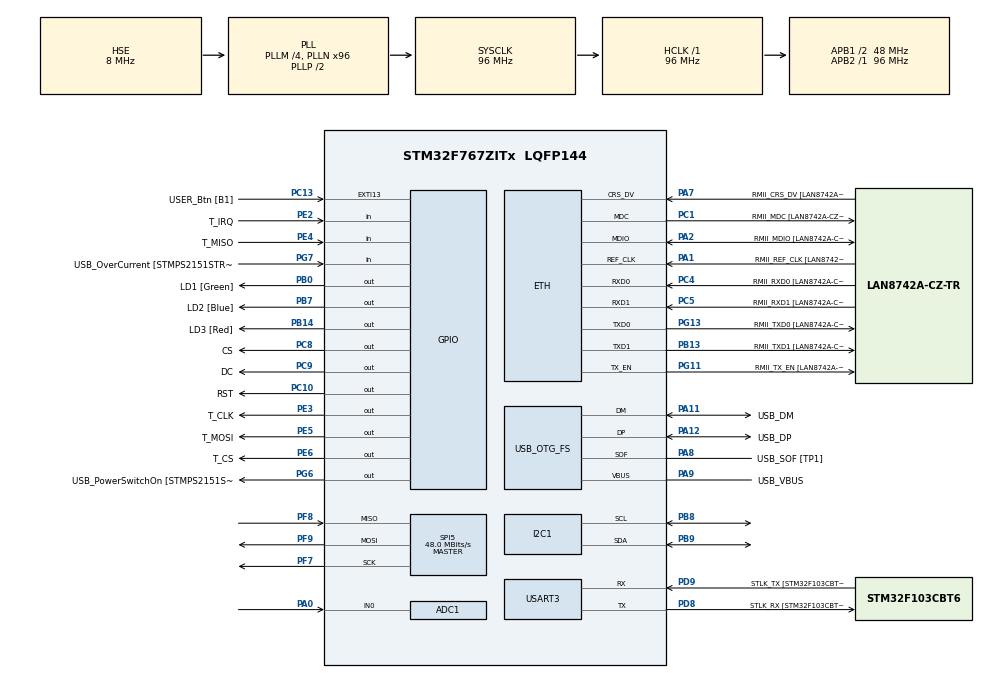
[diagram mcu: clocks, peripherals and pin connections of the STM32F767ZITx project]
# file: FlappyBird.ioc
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ADC1.Channel-0\#ChannelRegularConversion=ADC_CHANNEL_0
ADC1.NbrOfConversionFlag=1
ADC1.Rank-0\#ChannelRegularConversion=1
ADC1.SamplingTime-0\#ChannelRegularConversion=ADC_SAMPLETIME_3CYCLES
ADC1.master=1
CORTEX_M7.ART_ACCELERATOR_ENABLE=1
CORTEX_M7.CPU_DCache=Enabled
CORTEX_M7.CPU_ICache=Enabled
CORTEX_M7.PREFETCH_ENABLE=1
ETH.MediaInterface=HAL_ETH_RMII_MODE
ETH.PHY_Name=LAN8742A_PHY_ADDRESS
ETH.PHY_Value=0
ETH.PhyAddress=0
I2C1.Timing=0x20303E5D
Mcu.Family=STM32F7
Mcu.Name=STM32F767ZITx
Mcu.Package=LQFP144
NVIC.PriorityGroup=NVIC_PRIORITYGROUP_4
PA0/WKUP.Signal=ADCx_IN0
PA1.GPIO_Label=RMII_REF_CLK [LAN8742A-CZ-TR_REFCLK0]
PA1.Mode=RMII
PA1.Signal=ETH_REF_CLK
PA10.GPIO_Label=USB_ID
PA10.Signal=USB_OTG_FS_ID
PA11.GPIO_Label=USB_DM
PA11.Mode=Device_Only
PA11.Signal=USB_OTG_FS_DM
PA12.GPIO_Label=USB_DP
PA12.Mode=Device_Only
PA12.Signal=USB_OTG_FS_DP
PA13.GPIO_Label=TMS
PA13.Mode=Serial_Wire
PA13.Signal=SYS_JTMS-SWDIO
PA14.GPIO_Label=TCK
PA14.Mode=Serial_Wire
PA14.Signal=SYS_JTCK-SWCLK
PA2.GPIO_Label=RMII_MDIO [LAN8742A-CZ-TR_MDIO]
PA2.Mode=RMII
PA2.Signal=ETH_MDIO
PA7.GPIO_Label=RMII_CRS_DV [LAN8742A-CZ-TR_CRS_DV]
PA7.Mode=RMII
PA7.Signal=ETH_CRS_DV
PA8.GPIO_Label=USB_SOF [TP1]
PA8.Mode=Activate_SOF_FS
PA8.Signal=USB_OTG_FS_SOF
PA9.GPIO_Label=USB_VBUS
PA9.Mode=Activate_VBUS
PA9.Signal=USB_OTG_FS_VBUS
PB0.GPIO_Label=LD1 [Green]
PB0.Signal=GPIO_Output
PB13.GPIO_Label=RMII_TXD1 [LAN8742A-CZ-TR_TXD1]
PB13.Mode=RMII
PB13.Signal=ETH_TXD1
PB14.GPIO_Label=LD3 [Red]
PB14.Signal=GPIO_Output
PB3.GPIO_Label=SWO
PB3.Signal=SYS_JTDO-SWO
PB7.GPIO_Label=LD2 [Blue]
PB7.Signal=GPIO_Output
PB8.Mode=I2C
PB8.Signal=I2C1_SCL
PB9.Mode=I2C
PB9.Signal=I2C1_SDA
PC1.GPIO_Label=RMII_MDC [LAN8742A-CZ-TR_MDC]
PC1.Mode=RMII
PC1.Signal=ETH_MDC
PC10.GPIO_Label=RST
PC10.GPIO_Speed=GPIO_SPEED_FREQ_VERY_HIGH
PC10.Signal=GPIO_Output
PC13.GPIO_Label=USER_Btn [B1]
PC13.Signal=GPXTI13
PC14/OSC32_IN.Mode=LSE-External-Oscillator
PC14/OSC32_IN.Signal=RCC_OSC32_IN
PC15/OSC32_OUT.Mode=LSE-External-Oscillator
PC15/OSC32_OUT.Signal=RCC_OSC32_OUT
PC4.GPIO_Label=RMII_RXD0 [LAN8742A-CZ-TR_RXD0]
PC4.Mode=RMII
PC4.Signal=ETH_RXD0
PC5.GPIO_Label=RMII_RXD1 [LAN8742A-CZ-TR_RXD1]
PC5.Mode=RMII
PC5.Signal=ETH_RXD1
PC8.GPIO_Label=CS
PC8.GPIO_Speed=GPIO_SPEED_FREQ_VERY_HIGH
PC8.Signal=GPIO_Output
PC9.GPIO_Label=DC
PC9.GPIO_Speed=GPIO_SPEED_FREQ_VERY_HIGH
PC9.Signal=GPIO_Output
PD8.GPIO_Label=STLK_RX [STM32F103CBT6_PA3]
PD8.Mode=Asynchronous
PD8.Signal=USART3_TX
PD9.GPIO_Label=STLK_TX [STM32F103CBT6_PA2]
PD9.Mode=Asynchronous
PD9.Signal=USART3_RX
PE2.GPIO_Label=T_IRQ
PE2.Signal=GPIO_Input
PE3.GPIO_Label=T_CLK
PE3.GPIO_Speed=GPIO_SPEED_FREQ_VERY_HIGH
PE3.Signal=GPIO_Output
PE4.GPIO_Label=T_MISO
PE4.Signal=GPIO_Input
PE5.GPIO_Label=T_MOSI
PE5.GPIO_Speed=GPIO_SPEED_FREQ_VERY_HIGH
PE5.Signal=GPIO_Output
PE6.GPIO_Label=T_CS
PE6.GPIO_Speed=GPIO_SPEED_FREQ_VERY_HIGH
PE6.Signal=GPIO_Output
PF7.Mode=Full_Duplex_Master
PF7.Signal=SPI5_SCK
PF8.Mode=Full_Duplex_Master
PF8.Signal=SPI5_MISO
PF9.Mode=Full_Duplex_Master
PF9.Signal=SPI5_MOSI
PG11.GPIO_Label=RMII_TX_EN [LAN8742A-CZ-TR_TXEN]
PG11.Mode=RMII
PG11.Signal=ETH_TX_EN
PG13.GPIO_Label=RMII_TXD0 [LAN8742A-CZ-TR_TXD0]
PG13.Mode=RMII
PG13.Signal=ETH_TXD0
PG6.GPIO_Label=USB_PowerSwitchOn [STMPS2151STR_EN]
PG6.Signal=GPIO_Output
PG7.GPIO_Label=USB_OverCurrent [STMPS2151STR_FAULT]
PG7.Signal=GPIO_Input
PH0/OSC_IN.GPIO_Label=MCO [STM32F103CBT6_PA8]
PH0/OSC_IN.Mode=HSE-External-Clock-Source
PH0/OSC_IN.Signal=RCC_OSC_IN
PH1/OSC_OUT.Mode=HSE-External-Clock-Source
PH1/OSC_OUT.Signal=RCC_OSC_OUT
ProjectManager.HeapSize=0x200
ProjectManager.StackSize=0x400
ProjectManager.TargetToolchain=STM32CubeIDE
RCC.48MHZClocksFreq_Value=24000000
RCC.AHBFreq_Value=96000000
RCC.APB1CLKDivider=RCC_HCLK_DIV2
RCC.APB1Freq_Value=48000000
RCC.APB1TimFreq_Value=96000000
RCC.APB2Freq_Value=96000000
RCC.APB2TimFreq_Value=96000000
RCC.CortexFreq_Value=96000000
RCC.HCLKFreq_Value=96000000
RCC.HSE_VALUE=8000000
RCC.HSI_VALUE=16000000
RCC.PLLM=4
RCC.PLLMUL=RCC_PLL_MUL9
RCC.PLLN=96
RCC.PLLQ=4
RCC.PRESCALERUSB=RCC_USBCLKSOURCE_PLL_DIV1_5
RCC.SYSCLKFreq_VALUE=96000000
RCC.SYSCLKSource=RCC_SYSCLKSOURCE_PLLCLK
RCC.SYSCLKSourceVirtual=RCC_SYSCLKSOURCE_PLLCLK
RCC.USBFreq_Value=48000000
RCC.VCOOutputFreq_Value=192000000
SH.ADCx_IN0.0=ADC1_IN0,IN0
SPI5.CalculateBaudRate=48.0 MBits/s
SPI5.DataSize=SPI_DATASIZE_8BIT
SPI5.Direction=SPI_DIRECTION_2LINES
SPI5.Mode=SPI_MODE_MASTER
SPI5.VirtualType=VM_MASTER
TIM1.ClockDivision=TIM_CLOCKDIVISION_DIV2
TIM1.Period=0
TIM1.Prescaler=10000
USART3.VirtualMode-Asynchronous=VM_ASYNC
USB_OTG_FS.VirtualMode=Device_Only
VP_RNG_VS_RNG.Mode=RNG_Activate
VP_TIM1_VS_ClockSourceINT.Mode=Internal
board=NUCLEO-F767ZI

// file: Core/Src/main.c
/* USER CODE BEGIN Header */
/**
  ******************************************************************************
  * @file           : main.c
  * @brief          : Main program body
  ******************************************************************************
  * @attention
  *
  * Copyright (c) 2025 STMicroelectronics.
  * All rights reserved.
  *
  * This software is licensed under terms that can be found in the LICENSE file
  * in the root directory of this software component.
  * If no LICENSE file comes with this software, it is provided AS-IS.
  *
  ******************************************************************************
  */
/* USER CODE END Header */
#include "main.h"
#include "adc.h"
#include "eth.h"
#include "i2c.h"
#include "rng.h"
#include "spi.h"
#include "tim.h"
#include "usart.h"
#include "usb_otg.h"
#include "gpio.h"

/* USER CODE BEGIN Includes */
#include "ILI9341_STM32_Driver.h"
#include "ILI9341_GFX.h"
#include "ILI9341_Touchscreen.h"
#include "stdio.h"
#include "stdlib.h"
/* USER CODE END Includes */

/* USER CODE BEGIN PTD */
typedef struct {
    float x, y;
    float velocity;
    uint8_t alive;
} Bird;

typedef struct {
    int16_t x;
    uint16_t top_height;
    uint16_t bottom_y;
    uint8_t passed;
} Pipe;
/* USER CODE END PTD */

/* USER CODE BEGIN PD */
// Game constants
#define SCREEN_WIDTH 320
#define SCREEN_HEIGHT 240
#define BIRD_SIZE 12
#define PIPE_WIDTH 40
//#define PIPE_GAP 100
#define GRAVITY 1
#define JUMP_STRENGTH -4
//#define PIPE_SPEED 2
#define GROUND_HEIGHT 30

#define WINNING_SCORE 8

// Difficulty Level Thresholds
#define DIFFICULTY_LEVEL_2_SCORE 3
#define DIFFICULTY_LEVEL_3_SCORE 5

// Difficulty Parameters
#define LEVEL_1_SPEED 2
#define LEVEL_1_GAP   100
#define LEVEL_2_SPEED 3
#define LEVEL_2_GAP   90
#define LEVEL_3_SPEED 4
#define LEVEL_3_GAP   80
// Colors (RGB565 format)
//#define SKY_BLUE 0x87CE
#define SKY_BLUE 0x867F
#define BIRD_YELLOW 0xFFE0
#define PIPE_GREEN 0x07E0
#define GROUND_BROWN 0x8A22
#define SCORE_WHITE 0xFFFF
#define BLACK 0x0000
#define RED   0xF800
#define YOU_WIN_GREEN 0x07E0
/* USER CODE END PD */

/* USER CODE BEGIN PV */
// Game variables
Bird bird;
Pipe pipes[2];
uint16_t score = 0;
uint8_t game_state = 0; // 0=menu, 1=playing, 2=game_over, 3=win, 4=level_up
uint32_t last_update = 0;
static uint8_t game_over_drawn = 0;
volatile uint32_t adc_val = 0;
// Shared state for pipe drawing (moved to globals so ResetPipeDrawState can access)
int16_t _last_pipe_x[2] = { -1, -1 };
uint8_t _first_draw = 1;

static uint8_t win_screen_drawn = 0;
static uint8_t level_up_drawn = 0;
uint8_t difficulty_level = 1;
uint8_t current_pipe_speed = LEVEL_1_SPEED;
uint16_t current_pipe_gap = LEVEL_1_GAP;

volatile uint8_t g_touch_detected = 0;

/* USER CODE END PV */

void SystemClock_Config(void);
/* USER CODE BEGIN PFP */
void FlappyBird_Init(void);
void FlappyBird_Update(void);
void FlappyBird_Draw(void);
void FlappyBird_HandleInput(void);
void DrawBird(void);
void DrawPipes(void);
void DrawGround(void);
// void DrawScore(void); // MODIFIED: This function is no longer needed
void DrawMenu(void);
void DrawGameOver(void);
void DrawWinScreen(void);
void DrawLevelUpScreen(void);
void ResetGame(void);
uint8_t CheckCollision(void);
void UpdatePipes(void);
void DrawBackground(uint8_t reset);
void ResetPipeDrawState(void);
// void DrawLevel(void); // MODIFIED: This function is no longer needed
void UpdateHUD(uint8_t force_redraw); // NEW: Efficient HUD update function
/* USER CODE END PFP */

/* USER CODE BEGIN 0 */
uint16_t RGB565(uint8_t r, uint8_t g, uint8_t b) {
    return ((r & 0xF8) << 8) | ((g & 0xFC) << 3) | (b >> 3);
}
/* USER CODE END 0 */

int main(void)
{

  /* Enable the CPU Cache */

  /* Enable I-Cache---------------------------------------------------------*/
  SCB_EnableICache();

  /* Enable D-Cache---------------------------------------------------------*/
  SCB_EnableDCache();

  /* MCU Configuration--------------------------------------------------------*/

  /* Reset of all peripherals, Initializes the Flash interface and the Systick. */
  HAL_Init();

  /* Configure the system clock */
  SystemClock_Config();

  /* Initialize all configured peripherals */
  MX_GPIO_Init();
  MX_ETH_Init();
  MX_USART3_UART_Init();
  MX_USB_OTG_FS_PCD_Init();
  MX_RNG_Init();
  MX_SPI5_Init();
  MX_TIM1_Init();
  MX_I2C1_Init();
  MX_ADC1_Init();
  /* USER CODE BEGIN 2 */
  FlappyBird_Init();
  /* USER CODE END 2 */

  /* Infinite loop */
  while (1)
  {

    /* USER CODE BEGIN 3 */
      FlappyBird_Update();
      HAL_Delay(1); // Small delay to prevent busy-waiting at 100% CPU
  }
  /* USER CODE END 3 */
}

void SystemClock_Config(void)
{
  RCC_OscInitTypeDef RCC_OscInitStruct = {0};
  RCC_ClkInitTypeDef RCC_ClkInitStruct = {0};

  /** Configure LSE Drive Capability
  */
  HAL_PWR_EnableBkUpAccess();

  /** Configure the main internal regulator output voltage
  */
  __HAL_RCC_PWR_CLK_ENABLE();
  __HAL_PWR_VOLTAGESCALING_CONFIG(PWR_REGULATOR_VOLTAGE_SCALE3);

  /** Initializes the RCC Oscillators according to the specified parameters
  * in the RCC_OscInitTypeDef structure.
  */
  RCC_OscInitStruct.OscillatorType = RCC_OSCILLATORTYPE_HSE;
  RCC_OscInitStruct.HSEState = RCC_HSE_BYPASS;
  RCC_OscInitStruct.PLL.PLLState = RCC_PLL_ON;
  RCC_OscInitStruct.PLL.PLLSource = RCC_PLLSOURCE_HSE;
  RCC_OscInitStruct.PLL.PLLM = 4;
  RCC_OscInitStruct.PLL.PLLN = 96;
  RCC_OscInitStruct.PLL.PLLP = RCC_PLLP_DIV2;
  RCC_OscInitStruct.PLL.PLLQ = 4;
  RCC_OscInitStruct.PLL.PLLR = 2;
  if (HAL_RCC_OscConfig(&RCC_OscInitStruct) != HAL_OK)
  {
    Error_Handler();
  }

  /** Activate the Over-Drive mode
  */
  if (HAL_PWREx_EnableOverDrive() != HAL_OK)
  {
    Error_Handler();
  }

  /** Initializes the CPU, AHB and APB buses clocks
  */
  RCC_ClkInitStruct.ClockType = RCC_CLOCKTYPE_HCLK|RCC_CLOCKTYPE_SYSCLK
                              |RCC_CLOCKTYPE_PCLK1|RCC_CLOCKTYPE_PCLK2;
  RCC_ClkInitStruct.SYSCLKSource = RCC_SYSCLKSOURCE_PLLCLK;
  RCC_ClkInitStruct.AHBCLKDivider = RCC_SYSCLK_DIV1;
  RCC_ClkInitStruct.APB1CLKDivider = RCC_HCLK_DIV2;
  RCC_ClkInitStruct.APB2CLKDivider = RCC_HCLK_DIV1;

  if (HAL_RCC_ClockConfig(&RCC_ClkInitStruct, FLASH_LATENCY_3) != HAL_OK)
  {
    Error_Handler();
  }
}

/* USER CODE BEGIN 4 */
void FlappyBird_Init(void) {
    // Initialize LCD
    ILI9341_Init();
    ILI9341_Set_Rotation(SCREEN_HORIZONTAL_2);

    // Initialize random seed
    srand(HAL_GetTick());

    // Set initial game state to menu
    game_state = 0;
    DrawMenu();
}

void FlappyBird_Update(void) {
    uint32_t current_time = HAL_GetTick();

    // Update at ~30 FPS
    if (current_time - last_update < 33) {
        return;
    }
    last_update = current_time;

    FlappyBird_HandleInput();

    if (game_state == 1) { // Playing
        // Continuous voice control - check ADC for sound input
        HAL_ADC_Start(&hadc1);
        if (HAL_ADC_PollForConversion(&hadc1, 10) == HAL_OK) { // Shorter timeout for smoother gameplay
            adc_val = HAL_ADC_GetValue(&hadc1);

            // Voice-controlled jump
            if (adc_val > 3000) {
                bird.velocity = JUMP_STRENGTH; // Jump on voice input
            }
        }
        HAL_ADC_Stop(&hadc1);

        // Update bird physics
        bird.velocity += GRAVITY * 0.3f;
        bird.y += bird.velocity;

        // Update pipes (logic only)
        UpdatePipes();

        // Check collisions
        if (CheckCollision()) {
            game_state = 2; // Game over
        }

        // Check score
        for (int i = 0; i < 2; i++) {
            if (!pipes[i].passed && pipes[i].x + PIPE_WIDTH < bird.x) {
                pipes[i].passed = 1;
                score++;
                // Check for difficulty increase
                if (difficulty_level == 1 && score >= DIFFICULTY_LEVEL_2_SCORE) {
                        difficulty_level = 2;
                        current_pipe_speed = LEVEL_2_SPEED;
                        current_pipe_gap = LEVEL_2_GAP;
                        game_state = 4; // PAUSE for level up
                    }
                else if (difficulty_level == 2 && score >= DIFFICULTY_LEVEL_3_SCORE) {
                        difficulty_level = 3;
                        current_pipe_speed = LEVEL_3_SPEED;
                        current_pipe_gap = LEVEL_3_GAP;
                        game_state = 4; // PAUSE for level up
                    }
            }
        }
        if (score >= WINNING_SCORE) {
                    game_state = 3; // You Win!
                }
    }

    FlappyBird_Draw();
}

void FlappyBird_HandleInput(void) {
    static uint32_t last_touch_time = 0;

    // Check if the interrupt has set our flag
    if (g_touch_detected) {
        // Reset the flag immediately so we don't process the same touch again
        g_touch_detected = 0;

        // We can still use our time-based debounce logic
        uint32_t current_time = HAL_GetTick();
        if (current_time - last_touch_time < 200) {
            return; // Too soon since last touch, ignore
        }
        last_touch_time = current_time;

        uint16_t position_array[2];
        // We still need to read the coordinates to confirm the press
        if (TP_Read_Coordinates(position_array) == TOUCHPAD_DATA_OK) {
            switch (game_state) {
                case 0: // Menu
                    ResetGame();
                    game_state = 1;
                    break;
                case 1: // Playing
                    bird.velocity = JUMP_STRENGTH;
                    break;
                case 2: // Game over
                    game_state = 0;
                    DrawMenu();
                    break;
                case 3: // Win screen
                    game_state = 0;
                    DrawMenu();
                    break;
                case 4: // Level up screen
                    game_state = 1;
                    level_up_drawn = 0;
                    ILI9341_Fill_Screen(SKY_BLUE);
                    DrawGround();
                    UpdateHUD(1);
                    ResetPipeDrawState();
                    DrawBackground(1);
                    break;
            }
        }
    }
}

void FlappyBird_Draw(void) {
    if (game_state == 1) { // Playing
        DrawBackground(0);  // Clears bird's old position
        DrawPipes();        // Redraws moving pipes and clears trailing edges
        DrawBird();         // Draw bird at new position
        UpdateHUD(0);       // Call the efficient HUD update function
    } else if (game_state == 2) { // Game Over
        if (!game_over_drawn) {
            DrawGameOver();
            game_over_drawn = 1;
        }
    } else if (game_state == 3) { // You Win
        if (!win_screen_drawn) {
            DrawWinScreen();
            win_screen_drawn = 1;
        }
    }
    else if (game_state == 4) { // Level Up Screen
            if (!level_up_drawn) {
                DrawLevelUpScreen();
                level_up_drawn = 1;
            }
    }
}

void DrawBackground(uint8_t reset) {
    static int16_t last_bird_x = 50, last_bird_y = 120;
    static uint8_t first_frame = 1;

    if (reset) {
        first_frame = 1;
        return;
    }

    if (!first_frame) {
        // Only clear a small area around bird's previous position
        ILI9341_Draw_Filled_Rectangle_Coord(
            last_bird_x - (BIRD_SIZE / 2) - 2, last_bird_y - (BIRD_SIZE / 2) - 2,
            last_bird_x + (BIRD_SIZE / 2) + 2, last_bird_y + (BIRD_SIZE / 2) + 2,
            SKY_BLUE
        );
    } else {
        first_frame = 0;
    }

    last_bird_x = (int16_t)bird.x;
    last_bird_y = (int16_t)bird.y;
}

void DrawBird(void) {
    int16_t bird_x = (int16_t)bird.x;
    int16_t bird_y = (int16_t)bird.y;

    ILI9341_Draw_Filled_Circle(bird_x, bird_y, BIRD_SIZE/2, BIRD_YELLOW);
    ILI9341_Draw_Filled_Circle(bird_x + 2, bird_y - 1, 1, BLACK); // Eye
}

void DrawPipes(void) {
    for (int i = 0; i < 2; i++) {
        if (!_first_draw && _last_pipe_x[i] > pipes[i].x) {
            int16_t x0_ideal = pipes[i].x + PIPE_WIDTH;
            int16_t x1_ideal = _last_pipe_x[i] + PIPE_WIDTH;

            if (x1_ideal < 0) {
                 _last_pipe_x[i] = pipes[i].x;
                 continue;
            }
            if (x0_ideal < 0) x0_ideal = 0;
            if (x1_ideal > SCREEN_WIDTH) x1_ideal = SCREEN_WIDTH;

            int16_t width = x1_ideal - x0_ideal;

            if (width > 0 && (width % 2 != 0)) {
                if (x0_ideal > 0) {
                    x0_ideal--;
                }
            }

            if (x1_ideal > x0_ideal) {
                ILI9341_Draw_Filled_Rectangle_Coord(x0_ideal, 0, x1_ideal, pipes[i].top_height, SKY_BLUE);
                ILI9341_Draw_Filled_Rectangle_Coord(x0_ideal, pipes[i].bottom_y, x1_ideal, SCREEN_HEIGHT - GROUND_HEIGHT, SKY_BLUE);
            }
        }

        if (pipes[i].x + PIPE_WIDTH > 0 && pipes[i].x < SCREEN_WIDTH) {
            int16_t draw_x0 = pipes[i].x < 0 ? 0 : pipes[i].x;
            int16_t draw_x1 = (pipes[i].x + PIPE_WIDTH > SCREEN_WIDTH) ? SCREEN_WIDTH : (pipes[i].x + PIPE_WIDTH);

            ILI9341_Draw_Filled_Rectangle_Coord(draw_x0, 0, draw_x1, pipes[i].top_height, PIPE_GREEN);
            ILI9341_Draw_Filled_Rectangle_Coord(draw_x0, pipes[i].bottom_y, draw_x1, SCREEN_HEIGHT - GROUND_HEIGHT, PIPE_GREEN);
        }

        _last_pipe_x[i] = pipes[i].x;
    }
    _first_draw = 0;
}

// MODIFIED: This function now ONLY draws the static ground bar. Text is handled by UpdateHUD.
void DrawGround(void) {
    ILI9341_Draw_Filled_Rectangle_Coord(0, SCREEN_HEIGHT - GROUND_HEIGHT, SCREEN_WIDTH, SCREEN_HEIGHT, GROUND_BROWN);
}

// DELETED: The old DrawScore function is no longer needed.

// NEW FUNCTION: Efficiently updates the HUD text only when values change.
void UpdateHUD(uint8_t force_redraw) {
    static int16_t last_score = -1; // Use -1 to guarantee the first draw
    static uint8_t last_level = 0;   // Use 0 to guarantee the first draw

    if (force_redraw || score != last_score || difficulty_level != last_level) {
        uint16_t ground_top = SCREEN_HEIGHT - GROUND_HEIGHT;

        char level_str[15];
        sprintf(level_str, "Level: %d", difficulty_level);
        char score_str[15];
        sprintf(score_str, "Score: %d", score);

        // Erase the old text by redrawing the ground bar area
        ILI9341_Draw_Filled_Rectangle_Coord(0, ground_top, SCREEN_WIDTH, SCREEN_HEIGHT, GROUND_BROWN);

        // Draw the new text
        ILI9341_Draw_Text(level_str, 10, ground_top + 8, SCORE_WHITE, 2, GROUND_BROWN);
        ILI9341_Draw_Text(score_str, SCREEN_WIDTH - 150, ground_top + 8, SCORE_WHITE, 2, GROUND_BROWN);

        // Update the last known values
        last_score = score;
        last_level = difficulty_level;
    }
}

void DrawMenu(void) {
    ILI9341_Fill_Screen(SKY_BLUE);
    ILI9341_Draw_Text("FLAPPY BIRD", 100, 60, SCORE_WHITE, 2, SKY_BLUE);
    ILI9341_Draw_Text("Touch to Start", 120, 120, SCORE_WHITE, 1, SKY_BLUE);
    ILI9341_Draw_Text("Touch or Scream to Flap", 95, 140, SCORE_WHITE, 1, SKY_BLUE);
    ILI9341_Draw_Filled_Circle(160, 100, BIRD_SIZE, BIRD_YELLOW);
    ILI9341_Draw_Filled_Circle(165, 97, 2, BLACK);
}

void DrawGameOver(void) {
    ILI9341_Draw_Filled_Rectangle_Coord(60, 80, 260, 160, BLACK);
    ILI9341_Draw_Text("GAME OVER!", 80, 90, RED, 3, BLACK);
    char score_str[20];
    sprintf(score_str, "Score: %d", score);
    ILI9341_Draw_Text(score_str, 115, 120, SCORE_WHITE, 2, BLACK);
    ILI9341_Draw_Text("Touch to Restart", 115, 145, SCORE_WHITE, 1, BLACK);
}

void DrawWinScreen(void) {
    ILI9341_Draw_Filled_Rectangle_Coord(60, 80, 260, 160, BLACK);
    ILI9341_Draw_Text("YOU WIN!", 100, 90, YOU_WIN_GREEN, 3, BLACK);
    char score_str[20];
    sprintf(score_str, "Score: %d", WINNING_SCORE);
    ILI9341_Draw_Text(score_str, 115, 120, SCORE_WHITE, 2, BLACK);
    ILI9341_Draw_Text("Touch to Continue", 105, 145, SCORE_WHITE, 1, BLACK);
}

void ResetPipeDrawState(void) {
    _last_pipe_x[0] = -1;
    _last_pipe_x[1] = -1;
    _first_draw = 1;
}

void ResetGame(void) {
	game_over_drawn = 0;
	win_screen_drawn = 0;
	level_up_drawn = 0;
    // Reset bird
    bird.x = 50;
    bird.y = SCREEN_HEIGHT / 2;
    bird.velocity = 0;
    bird.alive = 1;
    //Reset difficulty
    difficulty_level = 1;
	current_pipe_speed = LEVEL_1_SPEED;
	current_pipe_gap = LEVEL_1_GAP;
    // Reset pipes
    for (int i = 0; i < 2; i++) {
        pipes[i].x = SCREEN_WIDTH + (i * (SCREEN_WIDTH / 2 + PIPE_WIDTH / 2));
        pipes[i].top_height = 30 + (rand() % 90);
        pipes[i].bottom_y = pipes[i].top_height + current_pipe_gap;
        pipes[i].passed = 0;
    }

    // Reset score
    score = 0;

    // Reset draw history so no ghost pipes appear
    ResetPipeDrawState();

    // Clear and draw initial frame for a clean start
    ILI9341_Fill_Screen(SKY_BLUE);
    DrawPipes();
    DrawBird();
    // MODIFIED: Draw the static ground bar once, then force the initial HUD text draw.
    DrawGround();
    UpdateHUD(1);
}

void UpdatePipes(void) {
    for (int i = 0; i < 2; i++) {
        pipes[i].x -= current_pipe_speed;

        // Reset pipe when it goes off screen
        if (pipes[i].x < -PIPE_WIDTH) {
            pipes[i].x = SCREEN_WIDTH;
            pipes[i].top_height = 30 + (rand() % 90);
            pipes[i].bottom_y = pipes[i].top_height + current_pipe_gap;
            pipes[i].passed = 0;
        }
    }
}

uint8_t CheckCollision(void) {
    int16_t bird_x = (int16_t)bird.x;
    int16_t bird_y = (int16_t)bird.y;
    int16_t bird_radius = BIRD_SIZE / 2;

    // Ground and ceiling collision
    if (bird_y + bird_radius >= SCREEN_HEIGHT - GROUND_HEIGHT || bird_y - bird_radius <= 0) {
        return 1;
    }

    // Pipe collision
    for (int i = 0; i < 2; i++) {
        if (bird_x + bird_radius > pipes[i].x && bird_x - bird_radius < pipes[i].x + PIPE_WIDTH) {
            if (bird_y - bird_radius < pipes[i].top_height || bird_y + bird_radius > pipes[i].bottom_y) {
                return 1;
            }
        }
    }
    return 0;
}

// DELETED: The old DrawLevel function is no longer needed.

void DrawLevelUpScreen(void) {
    ILI9341_Draw_Filled_Rectangle_Coord(50, 80, 270, 160, BLACK);
    char level_msg[30];

    // Announce the level that was just completed
    sprintf(level_msg, "Level %d Complete!", difficulty_level - 1);
    ILI9341_Draw_Text(level_msg, 60, 95, YOU_WIN_GREEN, 2, BLACK);

    // Announce the next level
    sprintf(level_msg, "Get Ready for Level %d", difficulty_level);
    ILI9341_Draw_Text(level_msg, 95, 120, SCORE_WHITE, 1, BLACK);

    ILI9341_Draw_Text("Touch to Continue", 110, 145, SCORE_WHITE, 1, BLACK);
}
void HAL_GPIO_EXTI_Callback(uint16_t GPIO_Pin)
{
    // Make sure the interrupt came from the correct pin.
    if (GPIO_Pin == GPIO_PIN_2)
    {
        // Set our global flag to signal that a touch has happened.
        g_touch_detected = 1;
    }
}
/* USER CODE END 4 */

void Error_Handler(void)
{
  __disable_irq();
  while (1)
  {
  }
}
